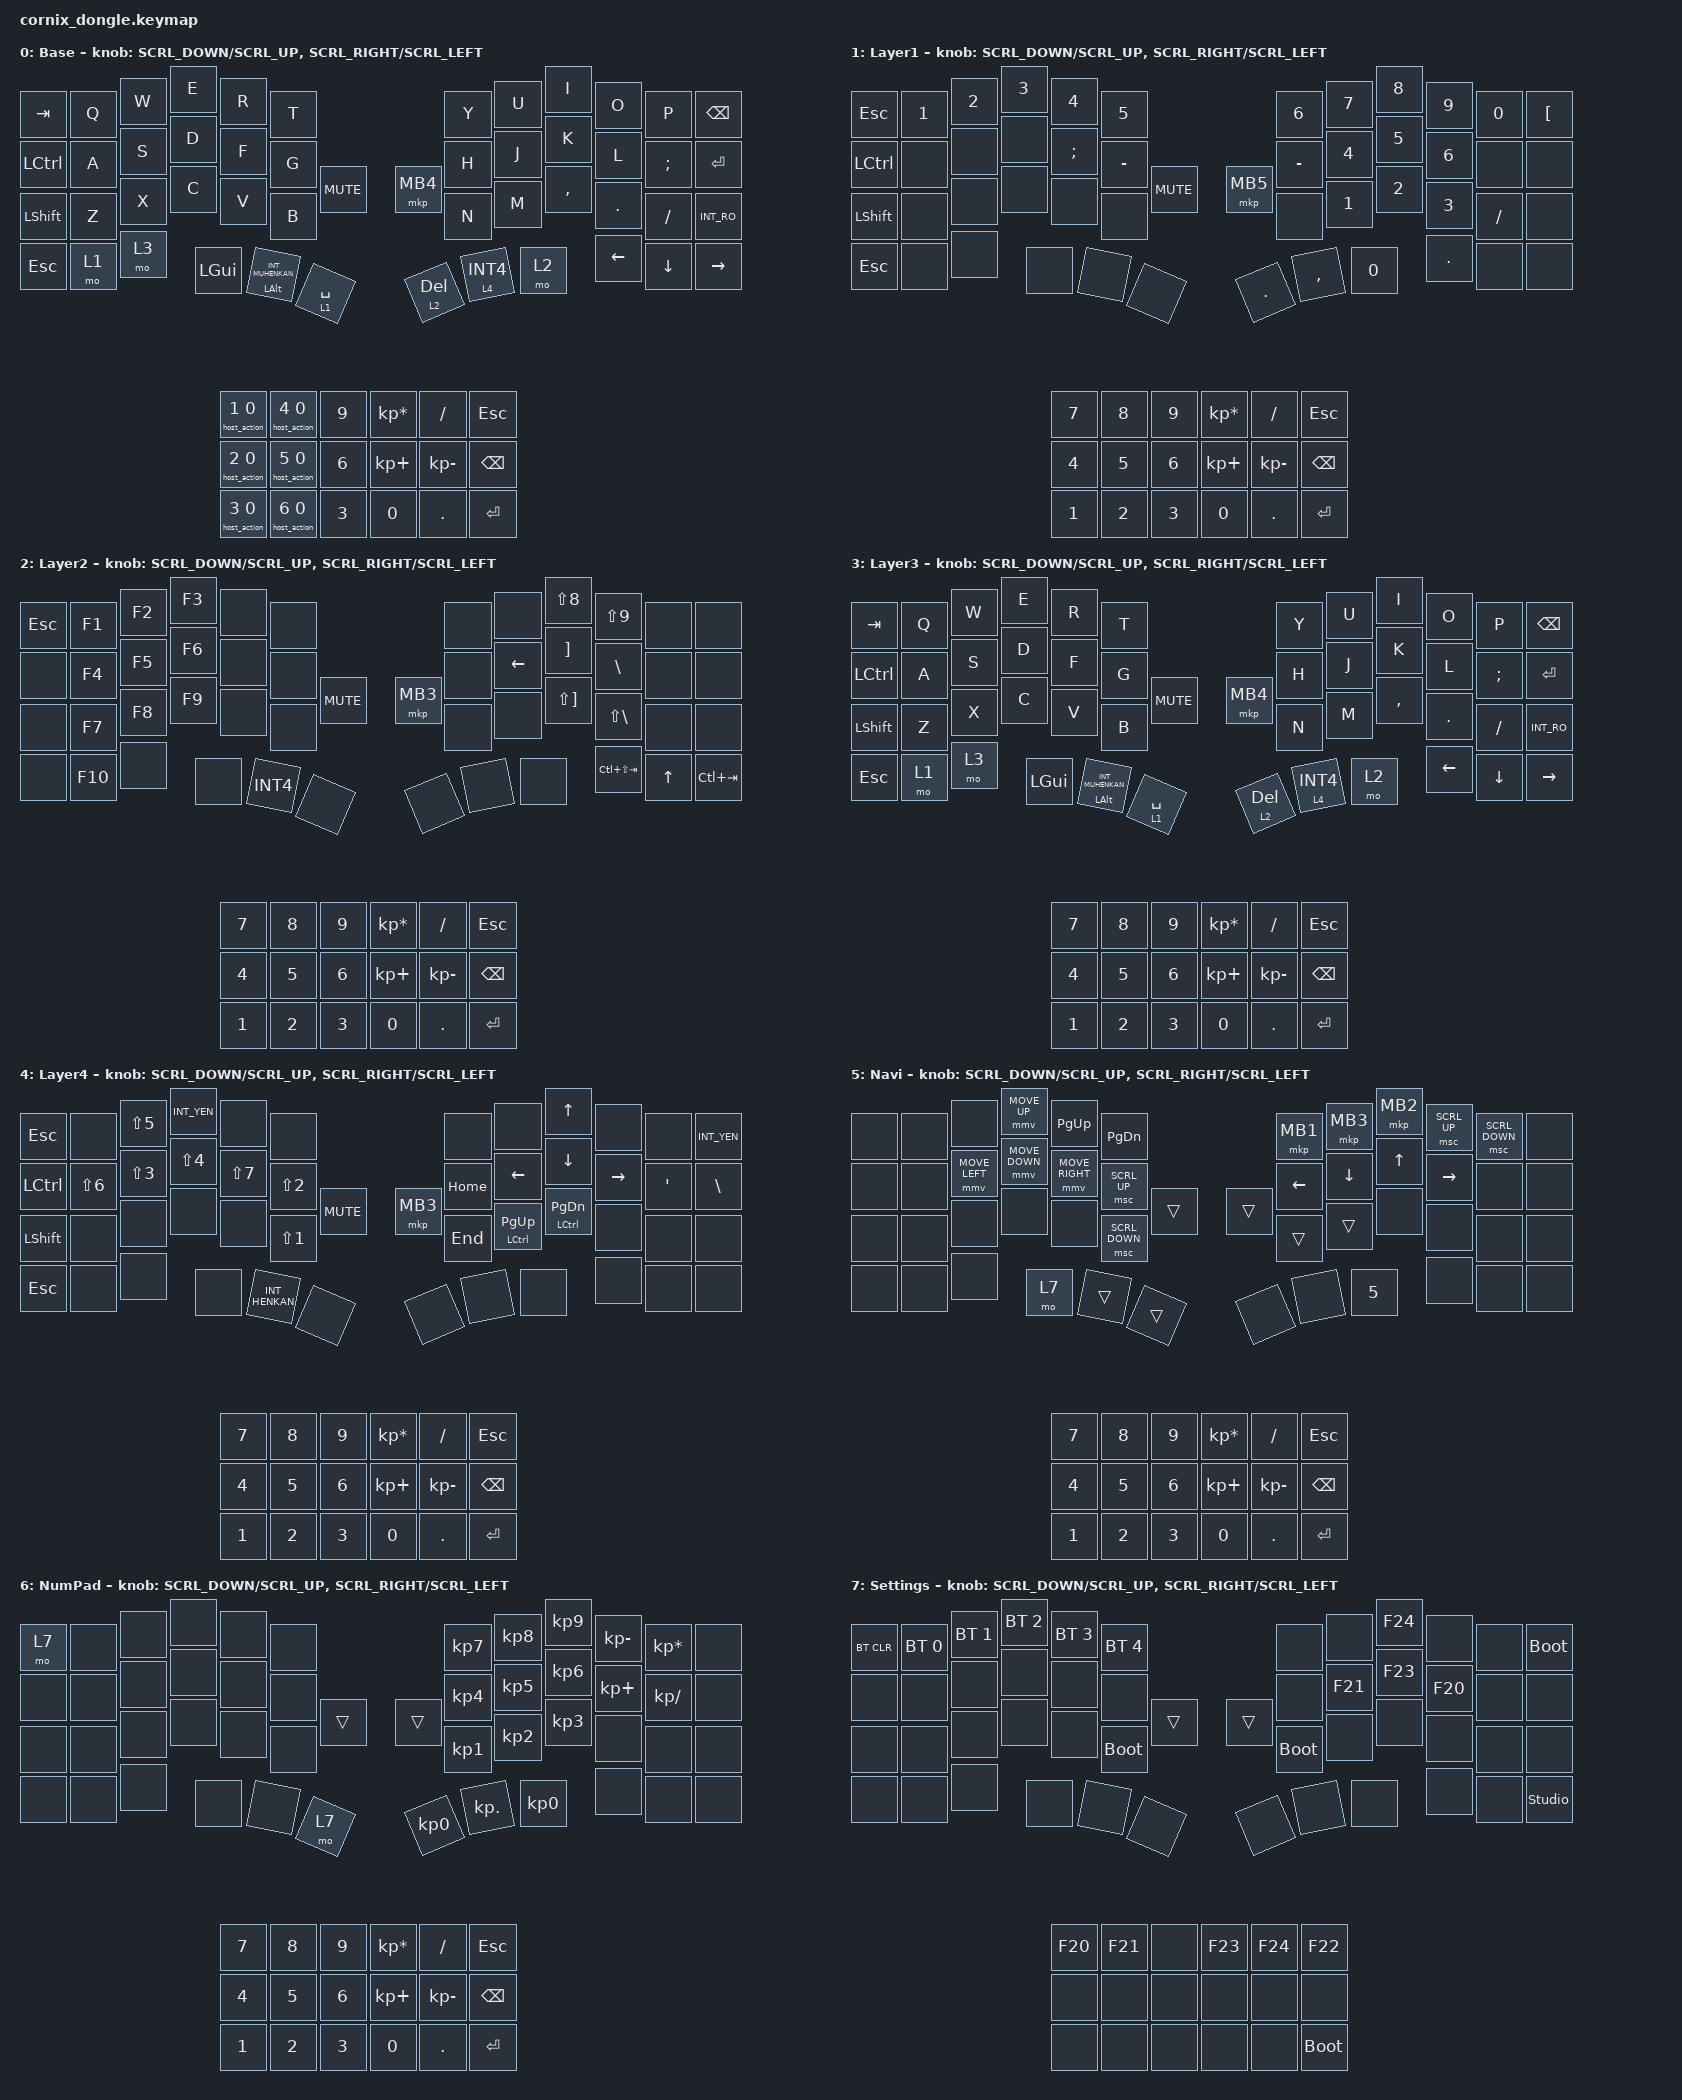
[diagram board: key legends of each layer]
/*
 * Copyright (c) 2020 The ZMK Contributors
 *
 * SPDX-License-Identifier: MIT
 *
 * Cornix (XIAO nRF52840 dongle) keymap.
 *
 * Layout = 68 keys:
 *   - positions  0..49 : cornix split halves (reported by the peripherals)
 *   - positions 50..67 : the 18 physical keys on the dongle (3 rows x 6 cols,
 *                        placed "below" the cornix via matrix row-offset=4)
 *
 * Encoders (left & right halves) are bound on every layer:
 *   - left  encoder -> vertical mouse scroll   (&inc_dec_ms SCRL_DOWN SCRL_UP)
 *   - right encoder -> horizontal mouse scroll (&inc_dec_ms SCRL_RIGHT SCRL_LEFT)
 *
 * Prospector control keys (touch disabled -> keycodes), default keycodes:
 *   F20 -> dark-theme toggle, F21 -> AI-Usage screen toggle,
 *   F23 -> brightness down,   F24 -> brightness up.
 * They are placed in the Settings (Debug) layer.
 */

#include "includes/cornix54.h"
#include <behaviors/host_action.dtsi>

// tap windows for ctl alt and gui

#define HM_TAPPING_TERM 250
#define HM_TAPPING_REPEAT 210

// quick tapping for shift

#define HM_TAPPING_TERM_FAST 200
#define HM_PRIOR_IDLE 70
#define BASE 0
#define WIN 1
#define LOWER 2
#define RAISE 3
#define ADJUST 4
#define NAVI   5
#define NUM    6
#define DEBUG  7

// https://github.com/urob/zmk-config/tree/main#timeless-homerow-mods

#define KEYS_L LT0 LT1 LT2 LT3 LT4 LT5 LM0 LM1 LM2 LM3 LM4 LM5 LB0 LB1 LB2 LB3 LB4 LB5  // left hand
#define KEYS_R RT0 RT1 RT2 RT3 RT4 RT5 RM0 RM1 RM2 RM3 RM4 RM5 RB0 RB1 RB2 RB3 RB4 RB5  // right hand
#define THUMBS LH1 LH0 RH0 RH1
#define KEYS_T LH1 LH0 RH0 RH1
// Encoder scroll amount. The &msc behavior (input-two-axis) emits on a ~16ms
// timer tick: move/tick = SCRL_VAL * trigger_period(16) / 1000. With accel
// exponent 0 the speed is max immediately, but the fractional remainder is
// DISCARDED when the sensor-rotate tap releases. So one tick must already yield
// >= 1 unit -> SCRL_VAL must be >= ~63. 80 gives ~1 unit on the first tick.
#define ZMK_POINTING_DEFAULT_SCRL_VAL 80

#include <behaviors.dtsi>
#include <dt-bindings/zmk/bt.h>
#include <dt-bindings/zmk/ext_power.h>
#include <dt-bindings/zmk/keys.h>
#include <dt-bindings/zmk/pointing.h>

/ {
    behaviors {
        hm_l: homerow_mods_left {
            compatible = "zmk,behavior-hold-tap";
            #binding-cells = <2>;
            bindings = <&kp>, <&kp>;

            flavor = "balanced";
            tapping-term-ms = <HM_TAPPING_TERM>;
            quick-tap-ms = <200>;                // repeat on tap-into-hold
            require-prior-idle-ms = <HM_PRIOR_IDLE>;
            hold-trigger-key-positions = <KEYS_R KEYS_T>;
            hold-trigger-on-release;
        };

        hm_r: homerow_mods_right {
            compatible = "zmk,behavior-hold-tap";
            #binding-cells = <2>;
            bindings = <&kp>, <&kp>;

            flavor = "balanced";
            tapping-term-ms = <HM_TAPPING_TERM>;
            quick-tap-ms = <200>;
            require-prior-idle-ms = <HM_PRIOR_IDLE>;
            hold-trigger-key-positions = <KEYS_L KEYS_T>;
            hold-trigger-on-release;
        };

        // Positional Homerow mods for shift
        // Use faster tapping term and disable some features that may
        // cause false negatives.

        hm_shift_l: hm_shift_l {
            compatible = "zmk,behavior-hold-tap";
            #binding-cells = <2>;
            bindings = <&kp>, <&kp>;

            flavor = "balanced";
            tapping-term-ms = <HM_TAPPING_TERM_FAST>;
            quick-tap-ms = <200>;
            require-prior-idle-ms = <HM_PRIOR_IDLE>;
            hold-trigger-key-positions = <KEYS_R KEYS_T>;
            hold-trigger-on-release;
        };

        hm_shift_r: hm_shift_r {
            compatible = "zmk,behavior-hold-tap";
            #binding-cells = <2>;
            bindings = <&kp>, <&kp>;

            flavor = "balanced";
            tapping-term-ms = <HM_TAPPING_TERM_FAST>;
            quick-tap-ms = <200>;
            require-prior-idle-ms = <HM_PRIOR_IDLE>;
            hold-trigger-key-positions = <KEYS_L KEYS_T>;
            hold-trigger-on-release;
        };

        /*
         * Non-Positional Homerow Mods
         * Usage: &hm LSHFT T  -> Tap: T, Hold: LSHIFT
         */

        hm: homerow_mods {
            compatible = "zmk,behavior-hold-tap";
            #binding-cells = <2>;
            bindings = <&kp>, <&kp>;

            flavor = "balanced";
            tapping-term-ms = <HM_TAPPING_TERM>;
            quick-tap-ms = <200>;
        };

        lt: layer_tap {
            compatible = "zmk,behavior-hold-tap";
            #binding-cells = <2>;
            bindings = <&mo>, <&kp>;

            flavor = "hold-preferred";
            tapping-term-ms = <HM_TAPPING_TERM>;
            quick-tap-ms = <200>;
        };

        // Encoder -> mouse scroll (sensor rotate driving the &msc behavior).
        inc_dec_ms: inc_dec_ms {
            compatible = "zmk,behavior-sensor-rotate-var";
            #sensor-binding-cells = <2>;
            bindings = <&msc>, <&msc>;
            // Hold long enough for the &msc 16ms timer tick to fire (and a 2nd
            // at 32ms) so a detent reliably produces scroll; the original 20ms
            // released before any tick emitted -> no scroll at all.
            tap-ms = <40>;
        };
    };

    combos {
        compatible = "zmk,combos";

        cb_esc {
            bindings = <&kp ESC>;
            key-positions = <0 1>;
            layers = <0 1>;
        };

        cb_lm {
            bindings = <&kp TAB>;
            key-positions = <14 16>;
            layers = <0 1>;
        };

        cb_enter {
            bindings = <&kp RET>;
            key-positions = <21 19>;
            layers = <0 1>;
        };

        layer3 {
            bindings = <&kp N3>;
            key-positions = <5 6>;
        };

        Settings {
            bindings = <&mo 7>;
            key-positions = <38 39>;
        };

        Settings2 {
            bindings = <&mo 7>;
            key-positions = <62 63>;
        };
    };

    keymap {
        compatible = "zmk,keymap";

        default_layer {
            display-name = "Base";
            bindings = <
&kp TAB               &kp Q   &kp W   &kp E            &kp R                  &kp T                               &kp Y      &kp U       &kp I      &kp O     &kp P      &kp BSPC
&kp LCTRL             &kp A   &kp S   &kp D            &kp F                  &kp G                               &kp H      &kp J       &kp K      &kp L     &kp SEMI   &kp ENTER
&kp LSHIFT            &kp Z   &kp X   &kp C            &kp V                  &kp B         &kp C_MUTE  &mkp MB4  &kp N      &kp M       &kp COMMA  &kp DOT   &kp SLASH  &kp INT_RO
&kp ESC               &mo 1   &mo 3   &kp LGUI         &mt LALT INT_MUHENKAN  &lt 1 SPACE                         &lt 2 DEL  &lt 4 INT4  &mo 2      &kp LEFT  &kp DOWN   &kp RIGHT
&host_action 1 0      &host_action 4 0  &kp N9  &kp KP_MULTIPLY                         &kp SLASH     &kp ESC
&host_action 2 0      &host_action 5 0  &kp N6  &kp KP_PLUS                             &kp KP_MINUS  &kp BSPC
&host_action 3 0      &host_action 6 0  &kp N3  &kp N0                                  &kp DOT       &kp ENTER
            >;

            sensor-bindings =
                <&inc_dec_ms SCRL_DOWN SCRL_UP>,
                <&inc_dec_ms SCRL_RIGHT SCRL_LEFT>;
        };

        layer_1 {
            display-name = "Layer1";
            bindings = <
&kp ESC     &kp N1  &kp N2  &kp N3           &kp N4    &kp N5                              &kp N6     &kp N7       &kp N8  &kp N9   &kp N0     &kp LBKT
&kp LCTRL   &none   &none   &none            &kp SEMI  &kp MINUS                           &kp MINUS  &kp N4       &kp N5  &kp N6   &none      &none
&kp LSHIFT  &none   &none   &none            &none     &none         &kp C_MUTE  &mkp MB5  &none      &kp N1       &kp N2  &kp N3   &kp SLASH  &none
&kp ESC     &none   &none   &none            &none     &none                               &kp DOT    &kp COMMA    &kp N0  &kp DOT  &none      &none
&kp N7      &kp N8  &kp N9  &kp KP_MULTIPLY            &kp SLASH     &kp ESC
&kp N4      &kp N5  &kp N6  &kp KP_PLUS                &kp KP_MINUS  &kp BSPC
&kp N1      &kp N2  &kp N3  &kp N0                     &kp DOT       &kp ENTER
            >;

            sensor-bindings =
                <&inc_dec_ms SCRL_DOWN SCRL_UP>,
                <&inc_dec_ms SCRL_RIGHT SCRL_LEFT>;
        };

        layer_2 {
            display-name = "Layer2";
            bindings = <
&kp ESC  &kp F1   &kp F2  &kp F3           &none     &none                               &none  &none     &kp LS(N8)    &kp LS(N9)       &none   &none
&none    &kp F4   &kp F5  &kp F6           &none     &none                               &none  &kp LEFT  &kp RBKT      &kp BACKSLASH    &none   &none
&none    &kp F7   &kp F8  &kp F9           &none     &none         &kp C_MUTE  &mkp MB3  &none  &none     &kp LS(RBKT)  &kp LS(BSLH)     &none   &none
&none    &kp F10  &none   &none            &kp INT4  &none                               &none  &none     &none         &kp LC(LS(TAB))  &kp UP  &kp LC(TAB)
&kp N7   &kp N8   &kp N9  &kp KP_MULTIPLY            &kp SLASH     &kp ESC
&kp N4   &kp N5   &kp N6  &kp KP_PLUS                &kp KP_MINUS  &kp BSPC
&kp N1   &kp N2   &kp N3  &kp N0                     &kp DOT       &kp ENTER
            >;

            sensor-bindings =
                <&inc_dec_ms SCRL_DOWN SCRL_UP>,
                <&inc_dec_ms SCRL_RIGHT SCRL_LEFT>;
        };

        layer_3 {
            display-name = "Layer3";
            bindings = <
&kp TAB     &kp Q   &kp W   &kp E            &kp R                  &kp T                               &kp Y      &kp U       &kp I      &kp O     &kp P      &kp BSPC
&kp LCTRL   &kp A   &kp S   &kp D            &kp F                  &kp G                               &kp H      &kp J       &kp K      &kp L     &kp SEMI   &kp ENTER
&kp LSHIFT  &kp Z   &kp X   &kp C            &kp V                  &kp B         &kp C_MUTE  &mkp MB4  &kp N      &kp M       &kp COMMA  &kp DOT   &kp SLASH  &kp INT_RO
&kp ESC     &mo 1   &mo 3   &kp LGUI         &mt LALT INT_MUHENKAN  &lt 1 SPACE                         &lt 2 DEL  &lt 4 INT4  &mo 2      &kp LEFT  &kp DOWN   &kp RIGHT
&kp N7      &kp N8  &kp N9  &kp KP_MULTIPLY                         &kp SLASH     &kp ESC
&kp N4      &kp N5  &kp N6  &kp KP_PLUS                             &kp KP_MINUS  &kp BSPC
&kp N1      &kp N2  &kp N3  &kp N0                                  &kp DOT       &kp ENTER
            >;

            sensor-bindings =
                <&inc_dec_ms SCRL_DOWN SCRL_UP>,
                <&inc_dec_ms SCRL_RIGHT SCRL_LEFT>;
        };

        layer_4 {
            display-name = "Layer4";
            bindings = <
&kp ESC     &none       &kp LS(N5)  &kp INT_YEN      &none           &none                               &none     &none            &kp UP           &none      &none     &kp INT_YEN
&kp LCTRL   &kp LS(N6)  &kp LS(N3)  &kp LS(N4)       &kp LS(N7)      &kp LS(N2)                          &kp HOME  &kp LEFT         &kp DOWN         &kp RIGHT  &kp APOS  &kp BACKSLASH
&kp LSHIFT  &none       &none       &none            &none           &kp LS(N1)    &kp C_MUTE  &mkp MB3  &kp END   &mt LCTRL PG_UP  &mt LCTRL PG_DN  &none      &none     &none
&kp ESC     &none       &none       &none            &kp INT_HENKAN  &none                               &none     &none            &none            &none      &none     &none
&kp N7      &kp N8      &kp N9      &kp KP_MULTIPLY                  &kp SLASH     &kp ESC
&kp N4      &kp N5      &kp N6      &kp KP_PLUS                      &kp KP_MINUS  &kp BSPC
&kp N1      &kp N2      &kp N3      &kp N0                           &kp DOT       &kp ENTER
            >;

            sensor-bindings =
                <&inc_dec_ms SCRL_DOWN SCRL_UP>,
                <&inc_dec_ms SCRL_RIGHT SCRL_LEFT>;
        };

        Navi_layer {
            display-name = "Navi";
            bindings = <
&none   &none   &none           &mmv MOVE_UP     &kp PAGE_UP      &kp PAGE_DOWN                      &mkp MB1  &mkp MB3  &mkp MB2  &msc SCRL_UP  &msc SCRL_DOWN  &none
&none   &none   &mmv MOVE_LEFT  &mmv MOVE_DOWN   &mmv MOVE_RIGHT  &msc SCRL_UP                       &kp LEFT  &kp DOWN  &kp UP    &kp RIGHT     &none           &none
&none   &none   &none           &none            &none            &msc SCRL_DOWN  &trans     &trans  &trans    &trans    &none     &none         &none           &none
&none   &none   &none           &mo 7            &trans           &trans                             &none     &none     &kp N5    &none         &none           &none
&kp N7  &kp N8  &kp N9          &kp KP_MULTIPLY                   &kp SLASH       &kp ESC
&kp N4  &kp N5  &kp N6          &kp KP_PLUS                       &kp KP_MINUS    &kp BSPC
&kp N1  &kp N2  &kp N3          &kp N0                            &kp DOT         &kp ENTER
            >;

            sensor-bindings =
                <&inc_dec_ms SCRL_DOWN SCRL_UP>,
                <&inc_dec_ms SCRL_RIGHT SCRL_LEFT>;
        };

        KeyPad_layer {
            display-name = "NumPad";
            bindings = <
&mo 7   &none   &none   &none            &none  &none                            &kp KP_N7        &kp KP_N8        &kp KP_N9        &kp KP_MINUS  &kp KP_MULTIPLY  &none
&none   &none   &none   &none            &none  &none                            &kp KP_NUMBER_4  &kp KP_NUMBER_5  &kp KP_N6        &kp KP_PLUS   &kp KP_DIVIDE    &none
&none   &none   &none   &none            &none  &none         &trans     &trans  &kp KP_NUMBER_1  &kp KP_NUMBER_2  &kp KP_N3        &none         &none            &none
&none   &none   &none   &none            &none  &mo 7                            &kp KP_N0        &kp KP_DOT       &kp KP_NUMBER_0  &none         &none            &none
&kp N7  &kp N8  &kp N9  &kp KP_MULTIPLY         &kp SLASH     &kp ESC
&kp N4  &kp N5  &kp N6  &kp KP_PLUS             &kp KP_MINUS  &kp BSPC
&kp N1  &kp N2  &kp N3  &kp N0                  &kp DOT       &kp ENTER
            >;

            sensor-bindings =
                <&inc_dec_ms SCRL_DOWN SCRL_UP>,
                <&inc_dec_ms SCRL_RIGHT SCRL_LEFT>;
        };

        Debug_layer {
            display-name = "Settings";

            // Prospector control keys (touch disabled):
            //   F20 = dark-theme toggle, F21 = AI-Usage screen toggle,
            //   F23 = brightness down,   F24 = brightness up.
            // Placed on the dongle number block of this layer.

            bindings = <
&bt BT_CLR  &bt BT_SEL 0  &bt BT_SEL 1  &bt BT_SEL 2     &bt BT_SEL 3  &bt BT_SEL 4                       &none        &none    &kp F24   &none    &none  &bootloader
&none       &none         &none         &none            &none         &none                              &none        &kp F21  &kp F23   &kp F20  &none  &none
&none       &none         &none         &none            &none         &bootloader   &trans       &trans  &bootloader  &none    &none     &none    &none  &none
&none       &none         &none         &none            &none         &none                              &none        &none    &none     &none    &none  &studio_unlock
&kp F20     &kp F21       &none         &kp F23                        &kp F24       &kp F22
&none       &none         &none         &none                          &none         &none
&none       &none         &none         &none                          &none         &bootloader
            >;

            sensor-bindings =
                <&inc_dec_ms SCRL_DOWN SCRL_UP>,
                <&inc_dec_ms SCRL_RIGHT SCRL_LEFT>;
        };
    };
};

/* Keep Keylink Studio's scroll assignments and runtime encoder taps aligned
 * with the same values used by this keymap. */
/ {
    keylink_encoder_runtime: keylink_encoder_runtime {
        compatible = "keylink,encoder-runtime";
        scroll-value = <ZMK_POINTING_DEFAULT_SCRL_VAL>;
        sensor-behavior = <&inc_dec_ms>;
    };
};
